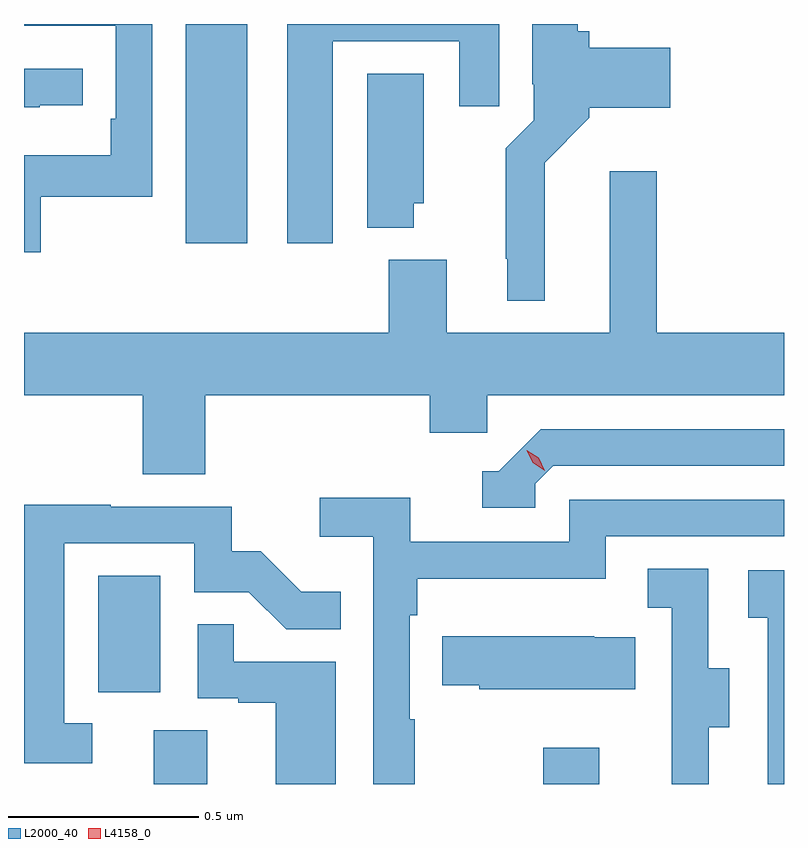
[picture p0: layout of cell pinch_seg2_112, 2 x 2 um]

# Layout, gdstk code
import gdstk
lib = gdstk.Library(unit=1e-6, precision=1e-09)
def R(c, l, rs):  # rectangles x0, y0, x1, y1
    for r in rs: c.add(gdstk.rectangle(r[:2], r[2:], *l))
def P(c, l, *ps):  # polygons
    for p in ps: c.add(gdstk.Polygon(p, *l))
L2000_40 = (2000, 40)
L4158_0 = (4158, 0)

pinch_seg2_112 = lib.new_cell('pinch_seg2_112')
R(pinch_seg2_112, L2000_40, [(1046.141,638.621,1046.281,638.762), (1047.166,638.621,1047.313,638.716), (1045.994,638.862,1046.158,639.169), (1046.225,640.044,1046.386,640.621)])
P(pinch_seg2_112, L2000_40, [(1047.169,640.256),(1047.287,640.374),(1047.287,640.4),(1047.499,640.4),(1047.499,640.558),(1047.287,640.558),(1047.287,640.602),(1047.256,640.602),(1047.256,640.621),(1047.137,640.621),(1047.137,640.462),(1047.141,640.462),(1047.141,640.368),(1047.067,640.294),(1047.067,640.003),(1047.071,640.003),(1047.071,639.893),(1047.169,639.893)],
  [(1046.611,640.575),(1046.945,640.575),(1046.945,640.404),(1047.049,640.404),(1047.049,640.621),(1046.492,640.621),(1046.492,640.044),(1046.611,640.044)],
  [(1045.843,640.167),(1046.136,640.167),(1046.136,640.621),(1045.799,640.621),(1045.799,640.617),(1046.04,640.617),(1046.04,640.372),(1046.027,640.372),(1046.027,640.276),(1045.799,640.276),(1045.799,640.02),(1045.843,640.02)],
  [(1045.841,640.407),(1045.954,640.407),(1045.954,640.503),(1045.799,640.503),(1045.799,640.402),(1045.841,640.402)],
  [(1046.824,640.149),(1046.851,640.149),(1046.851,640.49),(1046.702,640.49),(1046.702,640.085),(1046.824,640.085)],
  [(1046.867,639.546),(1047.018,639.546),(1047.018,639.644),(1047.799,639.644),(1047.799,639.808),(1047.464,639.808),(1047.464,640.234),(1047.341,640.234),(1047.341,639.808),(1046.911,639.808),(1046.911,640),(1046.759,640),(1046.759,639.808),(1045.799,639.808),(1045.799,639.644),(1046.111,639.644),(1046.111,639.436),(1046.276,639.436),(1046.276,639.644),(1046.867,639.644)],
  [(1047.144,639.411),(1047.192,639.459),(1047.799,639.459),(1047.799,639.555),(1047.159,639.555),(1047.048,639.444),(1047.005,639.444),(1047.005,639.348),(1047.144,639.348)],
  [(1046.827,638.792),(1046.814,638.792),(1046.814,639.065),(1046.834,639.065),(1046.834,639.161),(1047.33,639.161),(1047.33,639.273),(1047.799,639.273),(1047.799,639.369),(1047.234,639.369),(1047.234,639.258),(1046.816,639.258),(1046.816,639.374),(1046.577,639.374),(1046.577,639.272),(1046.718,639.272),(1046.718,638.621),(1046.827,638.621)],
  [(1045.978,638.781),(1045.905,638.781),(1045.905,639.255),(1046.247,639.255),(1046.247,639.126),(1046.391,639.126),(1046.489,639.028),(1046.633,639.028),(1046.633,639.127),(1046.529,639.127),(1046.422,639.234),(1046.346,639.234),(1046.346,639.351),(1046.027,639.351),(1046.027,639.356),(1045.799,639.356),(1045.799,638.676),(1045.978,638.676)],
  [(1047.601,638.77),(1047.655,638.77),(1047.655,638.925),(1047.6,638.925),(1047.6,639.188),(1047.441,639.188),(1047.441,639.085),(1047.504,639.085),(1047.504,638.781),(1047.503,638.781),(1047.503,638.621),(1047.601,638.621)],
  [(1047.799,639.183),(1047.705,639.183),(1047.705,639.059),(1047.756,639.059),(1047.756,638.621),(1047.799,638.621)],
  [(1046.62,638.943),(1046.351,638.943),(1046.351,639.041),(1046.256,639.041),(1046.256,638.847),(1046.363,638.847),(1046.363,638.835),(1046.462,638.835),(1046.462,638.621),(1046.62,638.621)],
  [(1047.407,639.007),(1047.299,639.007),(1047.299,639.01),(1046.899,639.01),(1046.899,638.881),(1046.997,638.881),(1046.997,638.87),(1047.407,638.87)])
P(pinch_seg2_112, L4158_0, [(1047.169,639.446),(1047.138,639.466),(1047.122,639.498),(1047.122,639.499),(1047.122,639.499),(1047.153,639.479),(1047.169,639.446),(1047.169,639.446)])

lib.write_gds('pinch_seg2_112.gds')
